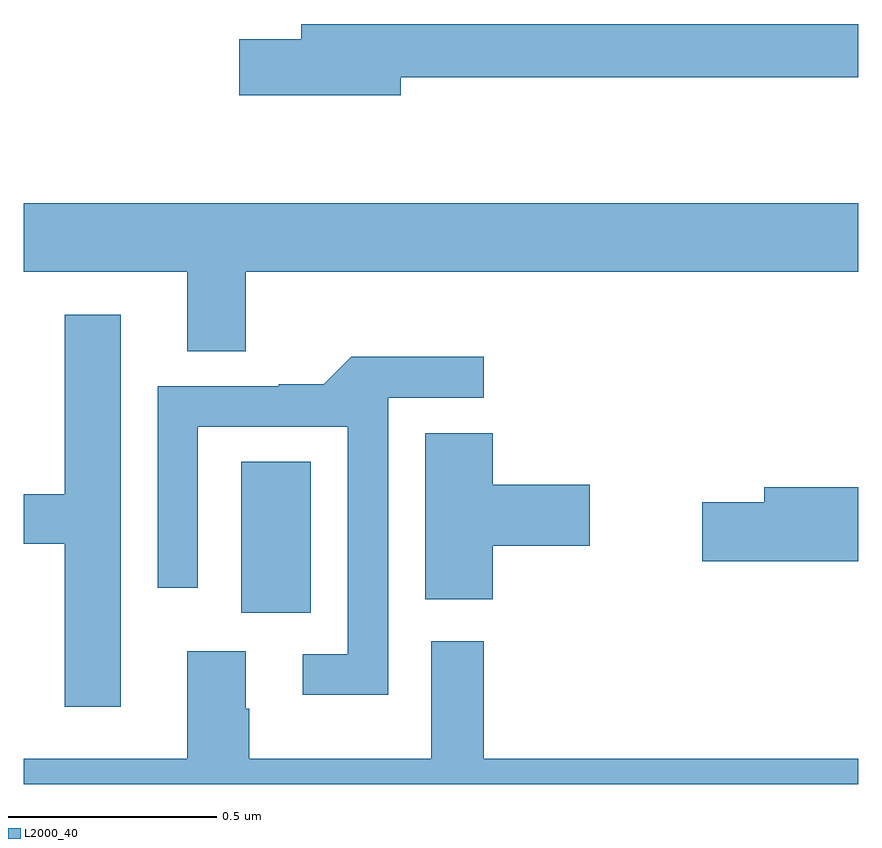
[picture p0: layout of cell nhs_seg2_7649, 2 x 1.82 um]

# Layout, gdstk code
import gdstk
lib = gdstk.Library(unit=1e-6, precision=1e-09)
def R(c, l, rs):  # rectangles x0, y0, x1, y1
    for r in rs: c.add(gdstk.rectangle(r[:2], r[2:], *l))
def P(c, l, *ps):  # polygons
    for p in ps: c.add(gdstk.Polygon(p, *l))
L2000_40 = (2000, 40)

nhs_seg2_7649 = lib.new_cell('nhs_seg2_7649')
R(nhs_seg2_7649, L2000_40, [(207.521,588.21,207.688,588.572)])
P(nhs_seg2_7649, L2000_40, [(207.904,589.494),(209,589.494),(209,589.622),(207.665,589.622),(207.665,589.586),(207.516,589.586),(207.516,589.451),(207.904,589.451)],
  [(207.532,589.028),(209,589.028),(209,589.192),(207,589.192),(207,589.028),(207.392,589.028),(207.392,588.838),(207.532,588.838)],
  [(207.232,588.925),(207.098,588.925),(207.098,588.495),(207,588.495),(207,588.376),(207.098,588.376),(207.098,587.985),(207.232,587.985)],
  [(207.873,588.726),(208.102,588.726),(208.102,588.824),(207.785,588.824),(207.719,588.758),(207.611,588.758),(207.611,588.753),(207.321,588.753),(207.321,588.27),(207.417,588.27),(207.417,588.657),(207.777,588.657),(207.777,588.111),(207.669,588.111),(207.669,588.014),(207.873,588.014)],
  [(208.124,588.371),(208.357,588.371),(208.357,588.518),(208.124,588.518),(208.124,588.641),(207.962,588.641),(207.962,588.243),(208.124,588.243)],
  [(209,588.512),(208.775,588.512),(208.775,588.476),(208.626,588.476),(208.626,588.334),(209,588.334)],
  [(209,587.86),(208.103,587.86),(208.103,588.142),(207.977,588.142),(207.977,587.86),(207.54,587.86),(207.54,587.981),(207.532,587.981),(207.532,588.118),(207.392,588.118),(207.392,587.86),(207,587.86),(207,587.8),(209,587.8)])

lib.write_gds('nhs_seg2_7649.gds')
